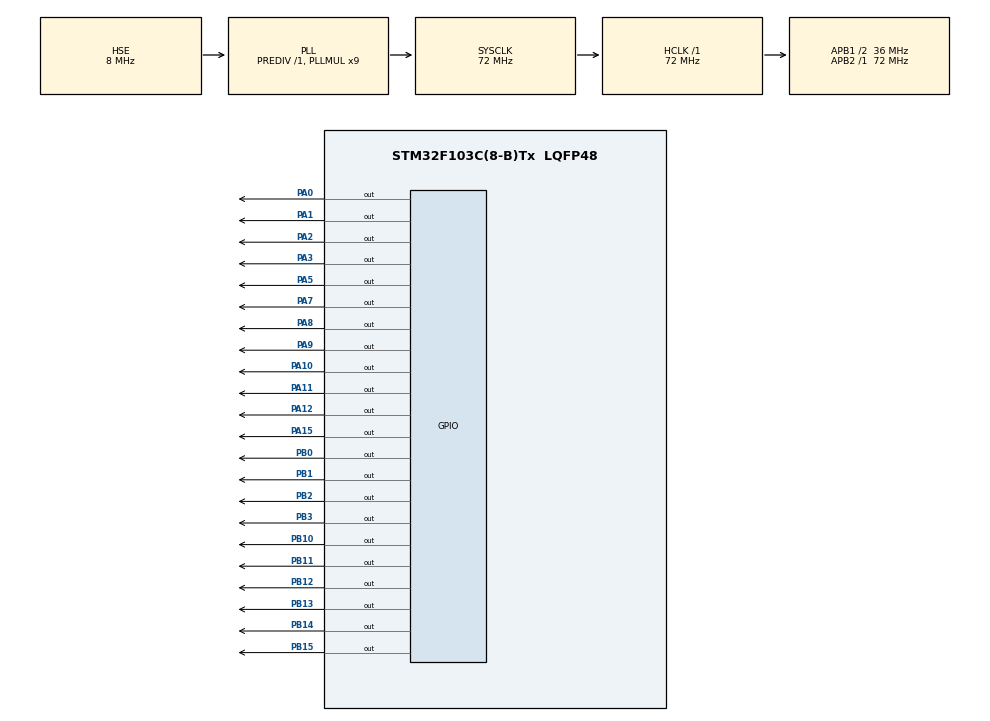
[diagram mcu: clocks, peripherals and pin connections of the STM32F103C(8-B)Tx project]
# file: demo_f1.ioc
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Mcu.Family=STM32F1
Mcu.Name=STM32F103C(8-B)Tx
Mcu.Package=LQFP48
NVIC.PriorityGroup=NVIC_PRIORITYGROUP_4
PA0-WKUP.GPIO_Speed=GPIO_SPEED_FREQ_HIGH
PA0-WKUP.Signal=GPIO_Output
PA1.GPIO_Speed=GPIO_SPEED_FREQ_HIGH
PA1.Signal=GPIO_Output
PA10.GPIO_Speed=GPIO_SPEED_FREQ_HIGH
PA10.Signal=GPIO_Output
PA11.GPIO_Speed=GPIO_SPEED_FREQ_HIGH
PA11.Signal=GPIO_Output
PA12.GPIO_Speed=GPIO_SPEED_FREQ_HIGH
PA12.Signal=GPIO_Output
PA13.Mode=Serial_Wire
PA13.Signal=SYS_JTMS-SWDIO
PA14.Mode=Serial_Wire
PA14.Signal=SYS_JTCK-SWCLK
PA15.GPIO_Speed=GPIO_SPEED_FREQ_HIGH
PA15.Signal=GPIO_Output
PA2.GPIO_Speed=GPIO_SPEED_FREQ_HIGH
PA2.Signal=GPIO_Output
PA3.GPIO_Speed=GPIO_SPEED_FREQ_HIGH
PA3.Signal=GPIO_Output
PA5.GPIO_Speed=GPIO_SPEED_FREQ_HIGH
PA5.Signal=GPIO_Output
PA7.GPIO_Speed=GPIO_SPEED_FREQ_HIGH
PA7.Signal=GPIO_Output
PA8.GPIO_Speed=GPIO_SPEED_FREQ_HIGH
PA8.Signal=GPIO_Output
PA9.GPIO_Speed=GPIO_SPEED_FREQ_HIGH
PA9.Signal=GPIO_Output
PB0.GPIO_Speed=GPIO_SPEED_FREQ_HIGH
PB0.Signal=GPIO_Output
PB1.GPIO_Speed=GPIO_SPEED_FREQ_HIGH
PB1.Signal=GPIO_Output
PB10.Signal=GPIO_Output
PB11.Signal=GPIO_Output
PB12.Signal=GPIO_Output
PB13.Signal=GPIO_Output
PB14.Signal=GPIO_Output
PB15.Signal=GPIO_Output
PB2.GPIO_Speed=GPIO_SPEED_FREQ_HIGH
PB2.Signal=GPIO_Output
PB3.Signal=GPIO_Output
PD0-OSC_IN.Mode=HSE-External-Oscillator
PD0-OSC_IN.Signal=RCC_OSC_IN
PD1-OSC_OUT.Mode=HSE-External-Oscillator
PD1-OSC_OUT.Signal=RCC_OSC_OUT
ProjectManager.HeapSize=0x200
ProjectManager.StackSize=0x400
ProjectManager.TargetToolchain=STM32CubeIDE
RCC.AHBFreq_Value=72000000
RCC.APB1CLKDivider=RCC_HCLK_DIV2
RCC.APB1Freq_Value=36000000
RCC.APB1TimFreq_Value=72000000
RCC.APB2Freq_Value=72000000
RCC.APB2TimFreq_Value=72000000
RCC.HCLKFreq_Value=72000000
RCC.PLLMUL=RCC_PLL_MUL9
RCC.PLLSourceVirtual=RCC_PLLSOURCE_HSE
RCC.SYSCLKFreq_VALUE=72000000
RCC.SYSCLKSource=RCC_SYSCLKSOURCE_PLLCLK
RCC.USBFreq_Value=72000000
board=custom

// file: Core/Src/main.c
/* USER CODE BEGIN Header */
/**
  ******************************************************************************
  * @file           : main.c
  * @brief          : Main program body
  ******************************************************************************
  * @attention
  *
  * Copyright (c) 2023 STMicroelectronics.
  * All rights reserved.
  *
  * This software is licensed under terms that can be found in the LICENSE file
  * in the root directory of this software component.
  * If no LICENSE file comes with this software, it is provided AS-IS.
  *
  ******************************************************************************
  */
/* USER CODE END Header */
#include "main.h"

/* USER CODE BEGIN Includes */
#include "SSD1963.h"
#include "xpt2046.h"
#include "stdio.h"
#include "image.h"
#include "math.h"
#include "Font_3_Tiny.h"
#include "Font_3_PicoPixel.h"
#include "Font_3_TomThumb_Extended.h"
#include "Font_5_Org.h"
#include "Font_8_Sinclair.h"
#include "Font_8_Sinclair_Inverted.h"
#include "Font_8_Tiny.h"
#include "Font_8_Myke.h"
#include "Font_8_Default.h"
#include "Font_8_Retro.h"
#include "Font_9_Mono.h"
#include "Font_9_Mono_Bold.h"
#include "Font_9_Mono_Bold_Oblique.h"
#include "Font_9_Mono_Oblique.h"
#include "Font_9_Sans.h"
#include "Font_9_Sans_Bold.h"
#include "Font_9_Sans_Bold_Oblique.h"
#include "Font_9_Sans_Oblique.h"
#include "Font_9_Serif.h"
#include "Font_9_Serif_Bold.h"
#include "Font_9_Serif_Bold_Italic.h"
#include "Font_9_Serif_Italic.h"
#include "Font_12_Mono.h"
#include "Font_12_Mono_Bold.h"
#include "Font_12_Mono_Bold_Oblique.h"
#include "Font_12_Mono_Oblique.h"
#include "Font_12_Sans.h"
#include "Font_12_Sans_Bold.h"
#include "Font_12_Sans_Bold_Oblique.h"
#include "Font_12_Sans_Oblique.h"
#include "Font_12_Serif.h"
#include "Font_12_Serif_Bold.h"
#include "Font_12_Serif_Bold_Italic.h"
#include "Font_12_Serif_Italic.h"
#include "Font_16_Arial.h"
#include "Font_16_Arial_Bold.h"
#include "Font_16_Arial_Italic.h"
#include "Font_16_Default.h"
#include "Font_16_FranklinGothic.h"
#include "Font_16_Hallfetica.h"
#include "Font_16_Nadianne.h"
#include "Font_16_Sinclair.h"
#include "Font_16_Sinclair_Inverted.h"
#include "Font_16_Swiss_Outline.h"
#include "Font_16_Matrix_Full.h"
#include "Font_16_Matrix_Full_Slash.h"
#include "Font_16_Matrix_Num.h"
#include "Font_16_Arial_Round.h"
#include "Font_16_OCR.h"
#include "Font_16_Segment_16_Full.h"
#include "Font_16_Grotesk.h"
#include "Font_16_Grotesk_Bold.h"
#include "Font_16_Retro.h"
#include "Font_18_Mono.h"
#include "Font_18_Mono_Bold.h"
#include "Font_18_Mono_Bold_Oblique.h"
#include "Font_18_Mono_Oblique.h"
#include "Font_18_Sans.h"
#include "Font_18_Sans_Bold.h"
#include "Font_18_Sans_Bold_Oblique.h"
#include "Font_18_Sans_Oblique.h"
#include "Font_18_Serif.h"
#include "Font_18_Serif_Bold.h"
#include "Font_18_Serif_Bold_Italic.h"
#include "Font_18_Serif_Italic.h"
#include "Font_24_Matrix_Num.h"
#include "Font_24_Inconsola.h"
#include "Font_24_Ubuntu.h"
#include "Font_24_Ubuntu_Bold.h"
#include "Font_24_Segment_16_Full.h"
#include "Font_24_Mono.h"
#include "Font_24_Mono_Bold.h"
#include "Font_24_Mono_Bold_Oblique.h"
#include "Font_24_Mono_Oblique.h"
#include "Font_24_Grotesk.h"
#include "Font_24_Grotesk_Bold.h"
#include "Font_24_Sans.h"
#include "Font_24_Sans_Bold.h"
#include "Font_24_Sans_Bold_Oblique.h"
#include "Font_24_Sans_Oblique.h"
#include "Font_24_Serif.h"
#include "Font_24_Serif_Bold.h"
#include "Font_24_Serif_Bold_Italic.h"
#include "Font_24_SerifItalic.h"
#include "Font_32_Dingbats.h"
#include "Font_32_Special.h"
#include "Font_32_Calibri_Bold.h"
#include "Font_32_Arial_Num_Plus.h"
#include "Font_32_Matrix_Num.h"
#include "Font_32_Segment_7_Full.h"
#include "Font_32_Segment_7_Num_Plus.h"
#include "Font_32_Segment_16_Full.h"
#include "Font_32_Segment_18_Full.h"
#include "Font_32_Grotesk.h"
#include "Font_32_Grotesk_Bold.h"

#include "008_Open_Sans_Bold.h"
#include "009_Open_Sans_Bold.h"
#include "010_Open_Sans_Bold.h"
#include "012_Open_Sans_Bold.h"
#include "014_Open_Sans_Bold.h"
#include "016_Open_Sans_Bold.h"
#include "018_Open_Sans_Bold.h"
#include "020_Open_Sans_Bold.h"
#include "022_Open_Sans_Bold.h"
#include "024_Open_Sans_Bold.h"
#include "026_Open_Sans_Bold.h"
#include "028_Open_Sans_Bold.h"
#include "036_Open_Sans_Bold.h"
#include "048_Open_Sans_Bold.h"
#include "072_Open_Sans_Bold.h"
#include "096_Open_Sans_Bold.h"
#include "112_Open_Sans_Bold.h"
#include "128_Open_Sans_Bold.h"
/* USER CODE END Includes */

/* USER CODE BEGIN PV */
uint32_t time = 0;
uint32_t time_1 = 0;
/* USER CODE END PV */

void SystemClock_Config(void);
static void MX_GPIO_Init(void);

int main(void)
{

  /* MCU Configuration--------------------------------------------------------*/

  /* Reset of all peripherals, Initializes the Flash interface and the Systick. */
  HAL_Init();

  /* Configure the system clock */
  SystemClock_Config();

  /* Initialize all configured peripherals */
  MX_GPIO_Init();
  /* USER CODE BEGIN 2 */
  SSD1963_Init();
  time_1 = HAL_GetTick();
  SSD1963_FillScreen(SSD1963_BLUE);
  time = HAL_GetTick() - time_1;
//  LCD_Font(5, 40, "This is\n just a Test\n TomThumb Ext\n", Font_3_TomThumb_Extended, 1, BLACK);
//  LCD_Font(165, 25, "Slider 1", _Open_Sans_Bold_24, 1, BLACK);
  LCD_Font(200, 230, "LED ON", &Open_Sans_Bold_20, 1, BLUE);
  /* USER CODE END 2 */

  /* Infinite loop */
  while (1)
  {

  }
}

void SystemClock_Config(void)
{
  RCC_OscInitTypeDef RCC_OscInitStruct = {0};
  RCC_ClkInitTypeDef RCC_ClkInitStruct = {0};

  /** Initializes the RCC Oscillators according to the specified parameters
  * in the RCC_OscInitTypeDef structure.
  */
  RCC_OscInitStruct.OscillatorType = RCC_OSCILLATORTYPE_HSE;
  RCC_OscInitStruct.HSEState = RCC_HSE_ON;
  RCC_OscInitStruct.HSEPredivValue = RCC_HSE_PREDIV_DIV1;
  RCC_OscInitStruct.HSIState = RCC_HSI_ON;
  RCC_OscInitStruct.PLL.PLLState = RCC_PLL_ON;
  RCC_OscInitStruct.PLL.PLLSource = RCC_PLLSOURCE_HSE;
  RCC_OscInitStruct.PLL.PLLMUL = RCC_PLL_MUL9;
  if (HAL_RCC_OscConfig(&RCC_OscInitStruct) != HAL_OK)
  {
    Error_Handler();
  }

  /** Initializes the CPU, AHB and APB buses clocks
  */
  RCC_ClkInitStruct.ClockType = RCC_CLOCKTYPE_HCLK|RCC_CLOCKTYPE_SYSCLK
                              |RCC_CLOCKTYPE_PCLK1|RCC_CLOCKTYPE_PCLK2;
  RCC_ClkInitStruct.SYSCLKSource = RCC_SYSCLKSOURCE_PLLCLK;
  RCC_ClkInitStruct.AHBCLKDivider = RCC_SYSCLK_DIV1;
  RCC_ClkInitStruct.APB1CLKDivider = RCC_HCLK_DIV2;
  RCC_ClkInitStruct.APB2CLKDivider = RCC_HCLK_DIV1;

  if (HAL_RCC_ClockConfig(&RCC_ClkInitStruct, FLASH_LATENCY_2) != HAL_OK)
  {
    Error_Handler();
  }
}

static void MX_GPIO_Init(void)
{
  GPIO_InitTypeDef GPIO_InitStruct = {0};

  /* GPIO Ports Clock Enable */
  __HAL_RCC_GPIOD_CLK_ENABLE();
  __HAL_RCC_GPIOA_CLK_ENABLE();
  __HAL_RCC_GPIOB_CLK_ENABLE();

  /*Configure GPIO pin Output Level */
  HAL_GPIO_WritePin(GPIOA, GPIO_PIN_0|GPIO_PIN_1|GPIO_PIN_2|GPIO_PIN_3
                          |GPIO_PIN_5|GPIO_PIN_7|GPIO_PIN_8|GPIO_PIN_9
                          |GPIO_PIN_10|GPIO_PIN_11|GPIO_PIN_12|GPIO_PIN_15, GPIO_PIN_RESET);

  /*Configure GPIO pin Output Level */
  HAL_GPIO_WritePin(GPIOB, GPIO_PIN_0|GPIO_PIN_1|GPIO_PIN_2|GPIO_PIN_10
                          |GPIO_PIN_11|GPIO_PIN_12|GPIO_PIN_13|GPIO_PIN_14
                          |GPIO_PIN_15|GPIO_PIN_3, GPIO_PIN_RESET);

  /*Configure GPIO pins : PA0 PA1 PA2 PA3
                           PA5 PA7 PA8 PA9
                           PA10 PA11 PA12 PA15 */
  GPIO_InitStruct.Pin = GPIO_PIN_0|GPIO_PIN_1|GPIO_PIN_2|GPIO_PIN_3
                          |GPIO_PIN_5|GPIO_PIN_7|GPIO_PIN_8|GPIO_PIN_9
                          |GPIO_PIN_10|GPIO_PIN_11|GPIO_PIN_12|GPIO_PIN_15;
  GPIO_InitStruct.Mode = GPIO_MODE_OUTPUT_PP;
  GPIO_InitStruct.Pull = GPIO_NOPULL;
  GPIO_InitStruct.Speed = GPIO_SPEED_FREQ_HIGH;
  HAL_GPIO_Init(GPIOA, &GPIO_InitStruct);

  /*Configure GPIO pins : PB0 PB1 PB2 */
  GPIO_InitStruct.Pin = GPIO_PIN_0|GPIO_PIN_1|GPIO_PIN_2;
  GPIO_InitStruct.Mode = GPIO_MODE_OUTPUT_PP;
  GPIO_InitStruct.Pull = GPIO_NOPULL;
  GPIO_InitStruct.Speed = GPIO_SPEED_FREQ_HIGH;
  HAL_GPIO_Init(GPIOB, &GPIO_InitStruct);

  /*Configure GPIO pins : PB10 PB11 PB12 PB13
                           PB14 PB15 PB3 */
  GPIO_InitStruct.Pin = GPIO_PIN_10|GPIO_PIN_11|GPIO_PIN_12|GPIO_PIN_13
                          |GPIO_PIN_14|GPIO_PIN_15|GPIO_PIN_3;
  GPIO_InitStruct.Mode = GPIO_MODE_OUTPUT_PP;
  GPIO_InitStruct.Pull = GPIO_NOPULL;
  GPIO_InitStruct.Speed = GPIO_SPEED_FREQ_LOW;
  HAL_GPIO_Init(GPIOB, &GPIO_InitStruct);

}

void Error_Handler(void)
{
  __disable_irq();
  while (1)
  {
  }
}
